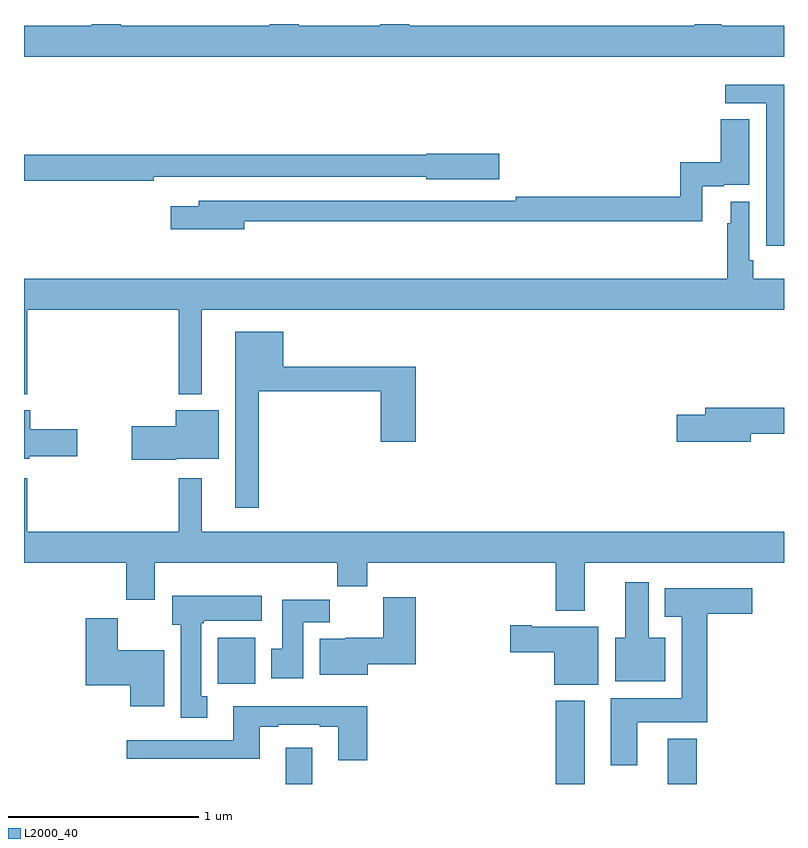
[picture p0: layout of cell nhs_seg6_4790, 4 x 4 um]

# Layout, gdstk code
import gdstk
lib = gdstk.Library(unit=1e-6, precision=1e-09)
def R(c, l, rs):  # rectangles x0, y0, x1, y1
    for r in rs: c.add(gdstk.rectangle(r[:2], r[2:], *l))
def P(c, l, *ps):  # polygons
    for p in ps: c.add(gdstk.Polygon(p, *l))
L2000_40 = (2000, 40)

nhs_seg6_4790 = lib.new_cell('nhs_seg6_4790')
R(nhs_seg6_4790, L2000_40, [(396.377,951.5,396.517,951.691), (397.799,951.5,397.951,951.937), (398.387,951.5,398.54,951.739), (396.02,952.028,396.217,952.27)])
P(nhs_seg6_4790, L2000_40, [(399,955.492),(398.671,955.492),(398.671,955.5),(398.531,955.5),(398.531,955.492),(397.028,955.492),(397.028,955.5),(396.875,955.5),(396.875,955.492),(396.445,955.492),(396.445,955.5),(396.293,955.5),(396.293,955.492),(395.509,955.492),(395.509,955.5),(395.357,955.5),(395.357,955.492),(395,955.492),(395,955.328),(399,955.328)],
  [(399,955.18),(398.691,955.18),(398.691,955.083),(398.906,955.083),(398.906,954.332),(399,954.332)],
  [(396.16,954.462),(398.571,954.462),(398.571,954.645),(398.682,954.645),(398.682,954.653),(398.818,954.653),(398.818,954.998),(398.666,954.998),(398.666,954.773),(398.455,954.773),(398.455,954.59),(397.588,954.59),(397.588,954.57),(395.921,954.57),(395.921,954.541),(395.772,954.541),(395.772,954.419),(396.16,954.419)],
  [(395.684,954.696),(397.116,954.696),(397.116,954.683),(397.501,954.683),(397.501,954.818),(397.116,954.818),(397.116,954.812),(395,954.812),(395,954.676),(395.684,954.676)],
  [(395.017,953.996),(395.814,953.996),(395.814,953.552),(395.935,953.552),(395.935,953.996),(399,953.996),(399,954.16),(398.837,954.16),(398.837,954.256),(398.817,954.256),(398.817,954.565),(398.72,954.565),(398.72,954.452),(398.701,954.452),(398.701,954.16),(395,954.16),(395,953.552),(395.017,953.552)],
  [(396.235,953.566),(396.878,953.566),(396.878,953.301),(397.061,953.301),(397.061,953.695),(396.364,953.695),(396.364,953.881),(396.113,953.881),(396.113,952.953),(396.235,952.953)],
  [(398.824,953.344),(399,953.344),(399,953.48),(398.585,953.48),(398.585,953.444),(398.436,953.444),(398.436,953.302),(398.824,953.302)],
  [(395.802,953.213),(396.025,953.213),(396.025,953.467),(395.798,953.467),(395.798,953.384),(395.568,953.384),(395.568,953.206),(395.802,953.206)],
  [(395.028,953.224),(395.281,953.224),(395.281,953.366),(395.032,953.366),(395.032,953.467),(395,953.467),(395,953.213),(395.028,953.213)],
  [(397.951,952.664),(399,952.664),(399,952.828),(395.935,952.828),(395.935,953.11),(395.814,953.11),(395.814,952.828),(395.017,952.828),(395.017,953.11),(395,953.11),(395,952.664),(395.537,952.664),(395.537,952.47),(395.689,952.47),(395.689,952.664),(396.649,952.664),(396.649,952.54),(396.806,952.54),(396.806,952.664),(397.799,952.664),(397.799,952.412),(397.951,952.412)],
  [(398.374,952.27),(398.287,952.27),(398.287,952.561),(398.165,952.561),(398.165,952.27),(398.111,952.27),(398.111,952.04),(398.374,952.04)],
  [(398.227,951.824),(398.597,951.824),(398.597,952.397),(398.833,952.397),(398.833,952.531),(398.372,952.531),(398.372,952.379),(398.462,952.379),(398.462,951.952),(398.087,951.952),(398.087,951.6),(398.227,951.6)],
  [(395.965,951.962),(395.932,951.962),(395.932,952.345),(395.946,952.345),(395.946,952.358),(396.25,952.358),(396.25,952.492),(395.78,952.492),(395.78,952.338),(395.825,952.338),(395.825,951.849),(395.965,951.849)],
  [(396.808,952.13),(397.061,952.13),(397.061,952.483),(396.89,952.483),(396.89,952.27),(396.69,952.27),(396.69,952.264),(396.557,952.264),(396.557,952.076),(396.808,952.076)],
  [(396.469,952.352),(396.608,952.352),(396.608,952.471),(396.359,952.471),(396.359,952.212),(396.302,952.212),(396.302,952.056),(396.469,952.056)],
  [(395.737,952.204),(395.494,952.204),(395.494,952.372),(395.324,952.372),(395.324,952.019),(395.558,952.019),(395.558,951.908),(395.737,951.908)],
  [(398.023,952.327),(397.672,952.327),(397.672,952.335),(397.56,952.335),(397.56,952.193),(397.79,952.193),(397.79,952.022),(398.023,952.022)],
  [(396.806,951.91),(396.101,951.91),(396.101,951.729),(395.541,951.729),(395.541,951.632),(396.241,951.632),(396.241,951.801),(396.337,951.801),(396.337,951.813),(396.557,951.813),(396.557,951.801),(396.653,951.801),(396.653,951.624),(396.806,951.624)])

lib.write_gds('nhs_seg6_4790.gds')
